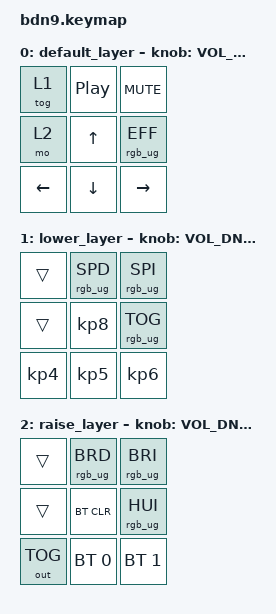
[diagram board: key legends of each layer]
/*
 * Copyright (c) 2020 The ZMK Contributors
 *
 * SPDX-License-Identifier: MIT
 */

#include <behaviors.dtsi>
#include <dt-bindings/zmk/keys.h>
#include <dt-bindings/zmk/bt.h>
#include <dt-bindings/zmk/rgb.h>
#include <dt-bindings/zmk/outputs.h>

/*
&sensors {
     status = "okay";
     sensors = <&left_encoder &mid_encoder &right_encoder>;
};

&left_encoder { status = "okay"; };
&mid_encoder { status = "okay"; };
&right_encoder { status = "okay"; };
*/


/ {
    keymap {
        compatible = "zmk,keymap";

        default_layer {
            bindings = <
                &tog 1    &kp C_PP   &kp C_MUTE
                &mo 2     &kp UP     &rgb_ug RGB_EFF
                &kp LEFT  &kp DOWN   &kp RIGHT

            >;

            sensor-bindings = <&inc_dec_kp C_VOL_DN C_VOL_UP &inc_dec_kp PG_UP PG_DN &inc_dec_kp C_VOL_DN C_VOL_UP>;
            
        };

        lower_layer {
            bindings = <
                &trans           &rgb_ug RGB_SPD   &rgb_ug RGB_SPI
                &trans           &kp KP_NUMBER_8   &rgb_ug RGB_TOG
                &kp KP_NUMBER_4  &kp KP_NUMBER_5   &kp KP_NUMBER_6

            >;

            sensor-bindings = <&inc_dec_kp C_VOL_DN C_VOL_UP &inc_dec_kp PG_UP PG_DN &inc_dec_kp C_VOL_DN C_VOL_UP>;
            
        };

        raise_layer {
            bindings = <
                &trans       &rgb_ug RGB_BRD    &rgb_ug RGB_BRI
                &trans       &bt BT_CLR         &rgb_ug RGB_HUI
                &out OUT_TOG &bt BT_SEL 0       &bt BT_SEL 1
            >;

            sensor-bindings = <&inc_dec_kp C_VOL_DN C_VOL_UP &inc_dec_kp PG_UP PG_DN &inc_dec_kp C_VOL_DN C_VOL_UP>;
            
        };
    };
};
